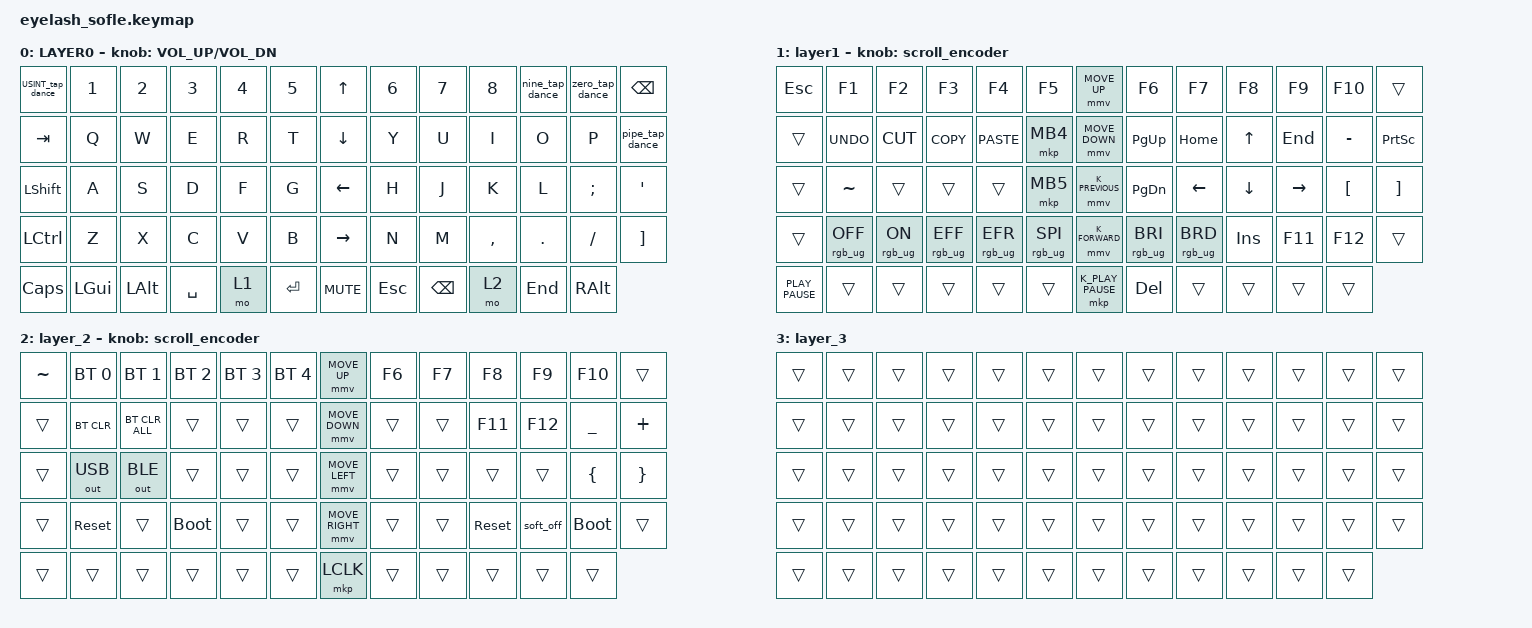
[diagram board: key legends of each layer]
#define ZMK_POINTING_DEFAULT_MOVE_VAL 1200  // 600
#define ZMK_POINTING_DEFAULT_SCRL_VAL 25   // 10

#include <input/processors.dtsi>
#include <zephyr/dt-bindings/input/input-event-codes.h>
#include <behaviors.dtsi>
#include <dt-bindings/zmk/bt.h>
#include <dt-bindings/zmk/keys.h>
#include <dt-bindings/zmk/outputs.h>
#include <dt-bindings/zmk/pointing.h>
#include <dt-bindings/zmk/rgb.h>

&mmv_input_listener { input-processors = <&zip_xy_scaler 2 1>; };

&msc_input_listener { input-processors = <&zip_scroll_scaler 2 1>; };

&msc {
    acceleration-exponent = <1>;      // 0
    time-to-max-speed-ms = <100>;       // 300
    delay-ms = <0>;                   // 0
};

&mmv {
    time-to-max-speed-ms = <500>;
    acceleration-exponent = <1>;
    trigger-period-ms = <16>;
};

/ {
    scroll_encoder: scroll_encoder {
        compatible = "zmk,behavior-sensor-rotate";
        #sensor-binding-cells = <0>;
        bindings = <&msc SCRL_DOWN>, <&msc SCRL_UP>;

        tap-ms = <100>;
    };

    nine_tap_dance: nine_tap_dance {
        compatible = "zmk,behavior-tap-dance";
        label = "NINE_TAP_DANCE";
        #binding-cells = <0>;
        bindings = <&kp NUMBER_9>, <&kp KP_MINUS>, <&kp UNDERSCORE>;
    };

    zero_tap_dance: zero_tap_dance {
        compatible = "zmk,behavior-tap-dance";
        label = "ZERO_TAP_DANCE";
        #binding-cells = <0>;
        bindings = <&kp N0>, <&kp KP_EQUAL>, <&kp KP_PLUS>;
    };

    pipe_tap_dance: pipe_tap_dance {
        compatible = "zmk,behavior-tap-dance";
        label = "PIPE_TAP_DANCE";
        #binding-cells = <0>;
        bindings = <&kp LEFT_BRACKET>, <&kp BACKSLASH>;
    };

    USINT_tap_dance: USINT_tap_dance {
        compatible = "zmk,behavior-tap-dance";
        label = "USINT_tap_dance";
        #binding-cells = <0>;
        bindings = <&kp GRAVE>, <&kp TILDE>;
    };

    behaviors {
    };

    keymap {
        compatible = "zmk,keymap";

        layer0 {
            bindings = <
&USINT_tap_dance  &kp N1    &kp N2        &kp N3     &kp N4  &kp N5       &kp UP_ARROW     &kp N6   &kp N7    &kp N8     &nine_tap_dance  &zero_tap_dance  &kp BACKSPACE
&kp TAB          &kp Q     &kp W         &kp E      &kp R   &kp T        &kp DOWN_ARROW   &kp Y    &kp U     &kp I      &kp O            &kp P            &pipe_tap_dance
&kp LSHIFT       &kp A     &kp S         &kp D      &kp F   &kp G        &kp LEFT_ARROW   &kp H    &kp J     &kp K      &kp L            &kp SEMI         &kp APOS
&kp LCTRL        &kp Z     &kp X         &kp C      &kp V   &kp B        &kp RIGHT_ARROW  &kp N    &kp M     &kp COMMA  &kp DOT          &kp FSLH         &kp RIGHT_BRACKET
&kp CAPSLOCK     &kp LGUI  &kp LEFT_ALT  &kp SPACE  &mo 1   &kp ENTER    &kp K_MUTE       &kp ESC  &kp BACKSPACE  &mo 2      &kp END          &kp RIGHT_ALT
            >;

            sensor-bindings = <&inc_dec_kp C_VOLUME_UP C_VOL_DN>;
            display-name = "LAYER0";
        };

        layer_1 {
            bindings = <
&kp ESC   &kp F1           &kp F2          &kp F3           &kp F4           &kp F5             &mmv MOVE_UP     &kp F6           &kp F7           &kp F8      &kp F9     &kp F10           &trans
&trans      &kp K_UNDO       &kp K_CUT       &kp K_COPY       &kp K_PASTE        &mkp MB4           &mmv MOVE_DOWN   &kp PG_UP        &kp HOME          &kp UP      &kp END   &kp MINUS         &kp PSCRN
&trans      &kp TILDE        &trans          &trans           &trans           &mkp MB5           &mmv K_PREVIOUS   &kp PG_DN        &kp LEFT         &kp DOWN    &kp RIGHT  &kp LEFT_BRACKET  &kp RIGHT_BRACKET
&trans      &rgb_ug RGB_OFF  &rgb_ug RGB_ON  &rgb_ug RGB_EFF  &rgb_ug RGB_EFR  &rgb_ug RGB_SPI    &mmv K_FORWARD  &rgb_ug RGB_BRI  &rgb_ug RGB_BRD  &kp INSERT  &kp F11    &kp F12           &trans
&kp K_PLAY_PAUSE  &trans           &trans          &trans           &trans           &trans             &mkp K_PLAY_PAUSE        &kp DELETE           &trans           &trans      &trans     &trans
            >;

            display-name = "layer1";
            sensor-bindings = <&scroll_encoder>;
        };

        layer_2 {
            bindings = <
&kp TILDE  &bt BT_SEL 0  &bt BT_SEL 1    &bt BT_SEL 2  &bt BT_SEL 3  &bt BT_SEL 4    &mmv MOVE_UP     &kp F6  &kp F7  &kp F8      &kp F9     &kp F10      &trans
&trans     &bt BT_CLR    &bt BT_CLR_ALL  &trans        &trans        &trans          &mmv MOVE_DOWN   &trans  &trans  &kp F11     &kp F12    &kp UNDER    &kp PLUS
&trans     &out OUT_USB  &out OUT_BLE    &trans        &trans        &trans          &mmv MOVE_LEFT   &trans  &trans  &trans      &trans     &kp LBRC     &kp RBRC
&trans     &sys_reset    &trans          &bootloader   &trans        &trans          &mmv MOVE_RIGHT  &trans  &trans  &sys_reset  &soft_off  &bootloader  &trans
&trans     &trans        &trans          &trans        &trans        &trans          &mkp LCLK        &trans  &trans  &trans      &trans     &trans
            >;

            sensor-bindings = <&scroll_encoder>;
        };

        layer_3 {
            bindings = <
&trans  &trans  &trans  &trans  &trans  &trans    &trans  &trans  &trans  &trans  &trans  &trans  &trans
&trans  &trans  &trans  &trans  &trans  &trans    &trans  &trans  &trans  &trans  &trans  &trans  &trans
&trans  &trans  &trans  &trans  &trans  &trans    &trans  &trans  &trans  &trans  &trans  &trans  &trans
&trans  &trans  &trans  &trans  &trans  &trans    &trans  &trans  &trans  &trans  &trans  &trans  &trans
&trans  &trans  &trans  &trans  &trans  &trans    &trans  &trans  &trans  &trans  &trans  &trans
            >;
        };
    };
};
